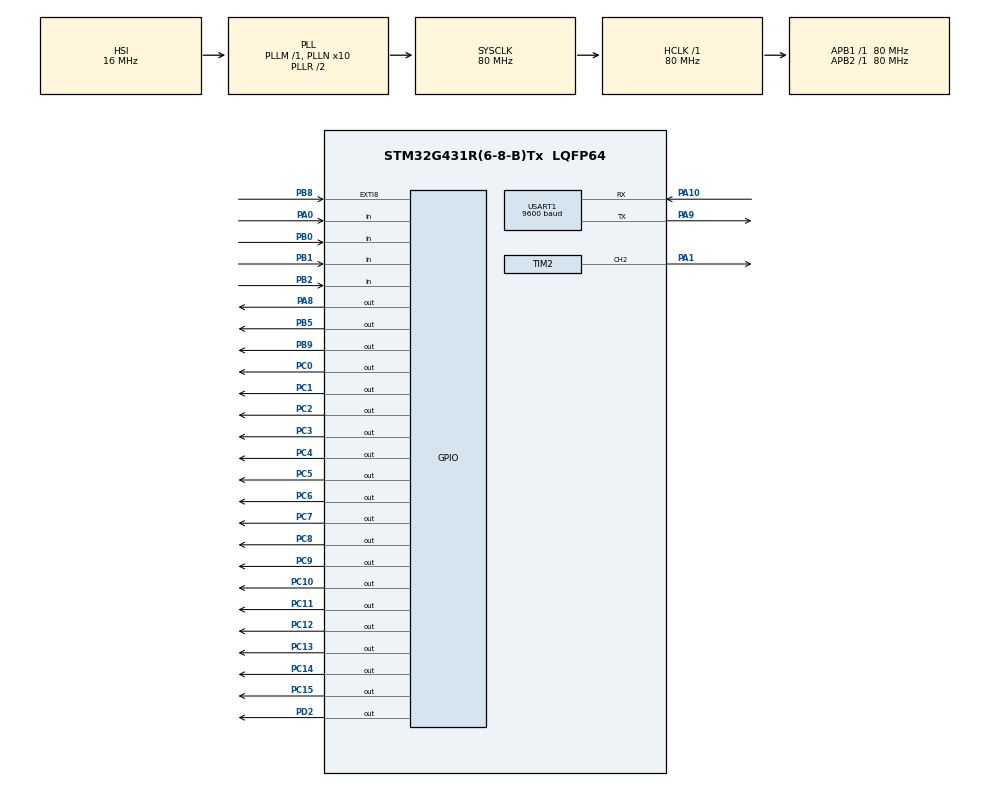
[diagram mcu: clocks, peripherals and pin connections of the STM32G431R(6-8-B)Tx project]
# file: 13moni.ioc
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Mcu.Family=STM32G4
Mcu.Name=STM32G431R(6-8-B)Tx
Mcu.Package=LQFP64
NVIC.PriorityGroup=NVIC_PRIORITYGROUP_4
NVIC.TIM3_IRQn=true\:0\:0\:false\:false\:true\:true\:true\:true
NVIC.TIM4_IRQn=true\:0\:0\:false\:false\:true\:true\:true\:true
NVIC.TIM6_DAC_IRQn=true\:0\:0\:false\:false\:true\:true\:true\:true
NVIC.USART1_IRQn=true\:0\:0\:false\:false\:true\:true\:true\:true
PA0.GPIO_PuPd=GPIO_PULLUP
PA0.Signal=GPIO_Input
PA1.Signal=S_TIM2_CH2
PA10.Mode=Asynchronous
PA10.Signal=USART1_RX
PA13.Mode=Serial_Wire
PA13.Signal=SYS_JTMS-SWDIO
PA14.Mode=Serial_Wire
PA14.Signal=SYS_JTCK-SWCLK
PA8.Signal=GPIO_Output
PA9.Mode=Asynchronous
PA9.Signal=USART1_TX
PB0.GPIO_Mode=GPIO_MODE_INPUT
PB0.GPIO_PuPd=GPIO_PULLUP
PB0.Signal=GPIO_Input
PB1.GPIO_Mode=GPIO_MODE_INPUT
PB1.GPIO_PuPd=GPIO_PULLUP
PB1.Signal=GPIO_Input
PB2.GPIO_Mode=GPIO_MODE_INPUT
PB2.GPIO_PuPd=GPIO_PULLUP
PB2.Signal=GPIO_Input
PB5.Signal=GPIO_Output
PB8-BOOT0.Signal=GPXTI8
PB9.Signal=GPIO_Output
PC0.Signal=GPIO_Output
PC1.Signal=GPIO_Output
PC10.PinState=GPIO_PIN_SET
PC10.Signal=GPIO_Output
PC11.PinState=GPIO_PIN_SET
PC11.Signal=GPIO_Output
PC12.PinState=GPIO_PIN_SET
PC12.Signal=GPIO_Output
PC13.PinState=GPIO_PIN_SET
PC13.Signal=GPIO_Output
PC14-OSC32_IN.PinState=GPIO_PIN_SET
PC14-OSC32_IN.Signal=GPIO_Output
PC15-OSC32_OUT.PinState=GPIO_PIN_SET
PC15-OSC32_OUT.Signal=GPIO_Output
PC2.Signal=GPIO_Output
PC3.Signal=GPIO_Output
PC4.Signal=GPIO_Output
PC5.Signal=GPIO_Output
PC6.Signal=GPIO_Output
PC7.Signal=GPIO_Output
PC8.PinState=GPIO_PIN_SET
PC8.Signal=GPIO_Output
PC9.PinState=GPIO_PIN_SET
PC9.Signal=GPIO_Output
PD2.Signal=GPIO_Output
PF0-OSC_IN.Mode=HSE-External-Oscillator
PF0-OSC_IN.Signal=RCC_OSC_IN
PF1-OSC_OUT.Mode=HSE-External-Oscillator
PF1-OSC_OUT.Signal=RCC_OSC_OUT
ProjectManager.HeapSize=0x200
ProjectManager.StackSize=0x400
ProjectManager.TargetToolchain=MDK-ARM V5.32
RCC.ADC12Freq_Value=80000000
RCC.AHBFreq_Value=80000000
RCC.APB1Freq_Value=80000000
RCC.APB1TimFreq_Value=80000000
RCC.APB2Freq_Value=80000000
RCC.APB2TimFreq_Value=80000000
RCC.CortexFreq_Value=80000000
RCC.EXTERNAL_CLOCK_VALUE=12288000
RCC.HCLKFreq_Value=80000000
RCC.HSE_VALUE=24000000
RCC.HSI48_VALUE=48000000
RCC.HSI_VALUE=16000000
RCC.LSE_VALUE=32768
RCC.PLLN=10
RCC.SYSCLKFreq_VALUE=80000000
RCC.SYSCLKSource=RCC_SYSCLKSOURCE_PLLCLK
RCC.USBFreq_Value=80000000
RCC.VCOOutputFreq_Value=160000000
SH.S_TIM2_CH2.0=TIM2_CH2,PWM Generation2 CH2
TIM2.Channel-PWM\ Generation2\ CH2=TIM_CHANNEL_2
TIM2.PeriodNoDither=100-1
TIM2.Prescaler=800-1
TIM2.PulseNoDither_2=20
TIM3.PeriodNoDither=10000-1
TIM3.Prescaler=80-1
TIM4.PeriodNoDither=10000-1
TIM4.Prescaler=80-1
TIM6.PeriodNoDither=10000-1 
TIM6.Prescaler=800-1
USART1.BaudRate=9600
USART1.VirtualMode-Asynchronous=VM_ASYNC
VP_SYS_VS_DBSignals.Mode=DisableDeadBatterySignals
VP_TIM3_VS_ClockSourceINT.Mode=Internal
VP_TIM4_VS_ClockSourceINT.Mode=Internal
VP_TIM6_VS_ClockSourceINT.Mode=Enable_Timer
board=custom

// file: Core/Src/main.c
/* USER CODE BEGIN Header */
/**
  ******************************************************************************
  * @file           : main.c
  * @brief          : Main program body
  ******************************************************************************
  * @attention
  *
  * Copyright (c) 2023 STMicroelectronics.
  * All rights reserved.
  *
  * This software is licensed under terms that can be found in the LICENSE file
  * in the root directory of this software component.
  * If no LICENSE file comes with this software, it is provided AS-IS.
  *
  ******************************************************************************
  */
/* USER CODE END Header */
#include "main.h"
#include "tim.h"
#include "usart.h"
#include "gpio.h"

/* USER CODE BEGIN Includes */
#include "lcd.h"
#include "led.h"
#include "stdio.h"
#include "string.h"
#include "interrupt.h"
/* USER CODE END Includes */

/* USER CODE BEGIN PTD */
extern char RxBuffer[30];
extern unsigned char BufIndex;
extern unsigned char Rxdat;
int password = 123;
extern struct keys key[];
bool view = 0;
bool b1begin=0;
bool b2begin=0;
bool b3begin=0;
bool clean = 0;
unsigned char b1code=0;
unsigned char b2code=0;
unsigned char b3code=0;
unsigned char errorcount=0;
unsigned char errorflag=0;
void view_pro(void);
void Rx_Proc(void);
void key_pro(void);
void pwm_pro(unsigned int prescaler,unsigned int autoreloaddate,unsigned int comparedata);
/* USER CODE END PTD */

void SystemClock_Config(void);

int main(void)
{

  /* MCU Configuration--------------------------------------------------------*/

  /* Reset of all peripherals, Initializes the Flash interface and the Systick. */
  HAL_Init();

  /* Configure the system clock */
  SystemClock_Config();

  /* Initialize all configured peripherals */
  MX_GPIO_Init();
  MX_USART1_UART_Init();
  MX_TIM3_Init();
  MX_TIM2_Init();
  MX_TIM4_Init();
  MX_TIM6_Init();
  /* USER CODE BEGIN 2 */
	LCD_Init();
	HAL_UART_Receive_IT(&huart1,&Rxdat,1);
	HAL_TIM_Base_Start_IT(&htim3);
	HAL_TIM_PWM_Start(&htim2,TIM_CHANNEL_2);
  /* USER CODE END 2 */

  /* Infinite loop */
  /* USER CODE BEGIN WHILE */
  led_disp(0x00);

  LCD_Clear(Black);
  LCD_SetBackColor(Black);
  LCD_SetTextColor(White);
  while (1)
  {
    /* USER CODE END WHILE */

    /* USER CODE BEGIN 3 */
	if(BufIndex != 0)
	{
		unsigned char temp = BufIndex;
		HAL_Delay(1);
		if(BufIndex == temp)
			Rx_Proc();
	}
	key_pro();
	view_pro();
//	led_disp(0x00);
  }
  /* USER CODE END 3 */
}

void SystemClock_Config(void)
{
  RCC_OscInitTypeDef RCC_OscInitStruct = {0};
  RCC_ClkInitTypeDef RCC_ClkInitStruct = {0};

  /** Configure the main internal regulator output voltage
  */
  HAL_PWREx_ControlVoltageScaling(PWR_REGULATOR_VOLTAGE_SCALE1);

  /** Initializes the RCC Oscillators according to the specified parameters
  * in the RCC_OscInitTypeDef structure.
  */
  RCC_OscInitStruct.OscillatorType = RCC_OSCILLATORTYPE_HSI;
  RCC_OscInitStruct.HSIState = RCC_HSI_ON;
  RCC_OscInitStruct.HSICalibrationValue = RCC_HSICALIBRATION_DEFAULT;
  RCC_OscInitStruct.PLL.PLLState = RCC_PLL_ON;
  RCC_OscInitStruct.PLL.PLLSource = RCC_PLLSOURCE_HSI;
  RCC_OscInitStruct.PLL.PLLM = RCC_PLLM_DIV1;
  RCC_OscInitStruct.PLL.PLLN = 10;
  RCC_OscInitStruct.PLL.PLLP = RCC_PLLP_DIV2;
  RCC_OscInitStruct.PLL.PLLQ = RCC_PLLQ_DIV2;
  RCC_OscInitStruct.PLL.PLLR = RCC_PLLR_DIV2;
  if (HAL_RCC_OscConfig(&RCC_OscInitStruct) != HAL_OK)
  {
    Error_Handler();
  }

  /** Initializes the CPU, AHB and APB buses clocks
  */
  RCC_ClkInitStruct.ClockType = RCC_CLOCKTYPE_HCLK|RCC_CLOCKTYPE_SYSCLK
                              |RCC_CLOCKTYPE_PCLK1|RCC_CLOCKTYPE_PCLK2;
  RCC_ClkInitStruct.SYSCLKSource = RCC_SYSCLKSOURCE_PLLCLK;
  RCC_ClkInitStruct.AHBCLKDivider = RCC_SYSCLK_DIV1;
  RCC_ClkInitStruct.APB1CLKDivider = RCC_HCLK_DIV1;
  RCC_ClkInitStruct.APB2CLKDivider = RCC_HCLK_DIV1;

  if (HAL_RCC_ClockConfig(&RCC_ClkInitStruct, FLASH_LATENCY_2) != HAL_OK)
  {
    Error_Handler();
  }
}

/* USER CODE BEGIN 4 */
void view_pro()
{
	if(view==0)
	{
		if(clean)
		{
			LCD_Clear(Black);
			clean=0;
		}
		char text[30];
		LCD_DisplayStringLine(Line1,(uint8_t *)"      PSD");
		if(b1begin == 0)
				LCD_DisplayStringLine(Line3,(uint8_t *)"    B1:@");
		else
		{
			sprintf(text,"    B1:%d",b1code);
			LCD_DisplayStringLine(Line3,(uint8_t *)text);
		}
		if(b2begin == 0)
				LCD_DisplayStringLine(Line4,(uint8_t *)"    B2:@");
		else
		{
			sprintf(text,"    B2:%d",b2code);
			LCD_DisplayStringLine(Line4,(uint8_t *)text);
		}
		if(b3begin == 0)
				LCD_DisplayStringLine(Line5,(uint8_t *)"    B3:@");
		else
		{
			sprintf(text,"    B3:%d",b3code);
			LCD_DisplayStringLine(Line5,(uint8_t *)text);
		}

	}
	else
	{
		char text[30];
		LCD_DisplayStringLine(Line1,(uint8_t *)"      STA");
		sprintf(text,"     F:%dHZ",80000000/(TIM2->PSC+1)/100);
		LCD_DisplayStringLine(Line3,(uint8_t*)text);
		sprintf(text,"     F:%d%%",TIM2->CCR2);
		LCD_DisplayStringLine(Line4,(uint8_t*)text);
	}

}

void Rx_Proc(void)
{
	if(BufIndex == 7)
	{
		char old_password[3];
		char new_password[3];
		sscanf(RxBuffer, "%3s-%3s", old_password,new_password);
		LCD_DisplayStringLine(Line0, (unsigned char*)old_password);
		LCD_DisplayStringLine(Line1, (unsigned char*)new_password);
		if((old_password[0]-'0')*100+(old_password[1]-'0')*10+(old_password[2]-'0')==password)
		{
			password=(new_password[0]-'0')*100+(new_password[1]-'0')*10+(new_password[2]-'0');
		}
		char temp[20];
		sprintf(temp,"%d\n",password);
		HAL_UART_Transmit(&huart1,(uint8_t *)temp,strlen(temp),50);
	}
	else
	{
		char temp[20];
		sprintf(temp,"error\n");
		HAL_UART_Transmit(&huart1,(uint8_t *)temp,strlen(temp),50);
	}
	BufIndex = 0;
	memset(RxBuffer, 0, 30);
}

void key_pro()
{
	if(key[0].single_flag)
	{
		if(b1begin==0)
			b1begin=1;
		else
		{
			b1code++;
			if(b1code>=10)
				b1code = 0;
		}
		key[0].single_flag=0;
	}
	if(key[1].single_flag)
	{
		if(b2begin==0)
			b2begin=1;
		else
		{
			b2code++;
			if(b2code>=10)
				b2code = 0;
		}
		key[1].single_flag=0;
	}
	if(key[2].single_flag)
	{
		if(b3begin==0)
			b3begin=1;
		else
		{
			b3code++;
			if(b3code>=10)
				b3code = 0;
		}
		key[2].single_flag=0;
	}
	if(key[3].single_flag)
	{
		if(b1code*100+b2code*10+b3code==password)
		{
			view = 1;
			LCD_Clear(Black);
			led_disp(0x01);
			pwm_pro(400,100,10);
			HAL_TIM_Base_Start_IT(&htim4);
			errorcount=0;
			errorflag=0;
		}
		else
		{
			b1code=0;
			b2code=0;
			b3code=0;
			b1begin=0;
			b2begin=0;
			b3begin=0;
			errorcount++;
			if(errorcount>=3)
				HAL_TIM_Base_Start_IT(&htim6);
			errorflag=1;
		}
		key[3].single_flag=0;
	}
}

void pwm_pro(unsigned int prescaler,unsigned int autoreloaddate,unsigned int comparedata)
{
	__HAL_TIM_SET_PRESCALER(&htim2,prescaler-1);
	__HAL_TIM_SetAutoreload(&htim2,autoreloaddate-1);
	__HAL_TIM_SetCompare(&htim2,TIM_CHANNEL_2,comparedata);
	HAL_TIM_GenerateEvent(&htim2,TIM_EVENTSOURCE_UPDATE);
}
/* USER CODE END 4 */

void Error_Handler(void)
{
  __disable_irq();
  while (1)
  {
  }
}
